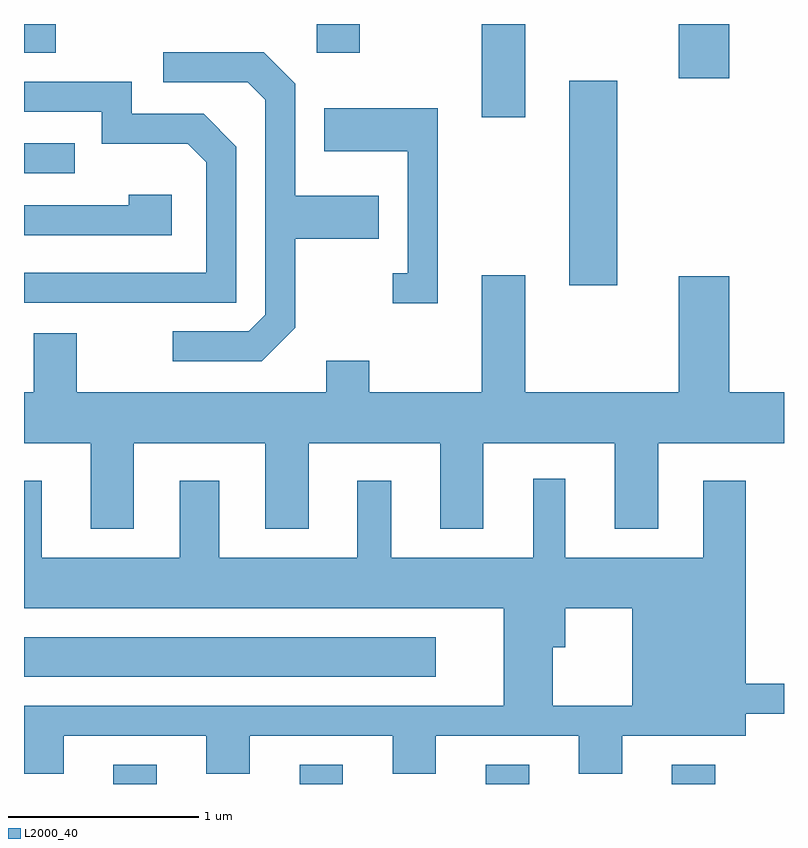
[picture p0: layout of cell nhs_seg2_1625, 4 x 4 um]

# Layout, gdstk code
import gdstk
lib = gdstk.Library(unit=1e-6, precision=1e-09)
def R(c, l, rs):  # rectangles x0, y0, x1, y1
    for r in rs: c.add(gdstk.rectangle(r[:2], r[2:], *l))
def A(c, l, x, y, w, h, nx, ny, dx, dy):  # array of equal rectangles
    R(c, l, [(x+i*dx, y+j*dy, x+i*dx+w, y+j*dy+h) for i in range(nx) for j in range(ny)])
def P(c, l, *ps):  # polygons
    for p in ps: c.add(gdstk.Polygon(p, *l))
L2000_40 = (2000, 40)

nhs_seg2_1625 = lib.new_cell('nhs_seg2_1625')
A(nhs_seg2_1625, L2000_40, 232.081, 1099.802, 0.228, 0.102, 4, 1, 0.98, 0)
R(nhs_seg2_1625, L2000_40, [(231.611,1100.366,233.779,1100.574), (234.481,1102.426,234.734,1103.504), (231.611,1103.016,231.878,1103.174), (234.021,1103.311,234.249,1103.802), (235.056,1103.516,235.324,1103.802), (231.611,1103.651,231.779,1103.802), (233.151,1103.651,233.379,1103.802)])
P(nhs_seg2_1625, L2000_40, [(233.039,1102.204),(233.039,1102.671),(233.479,1102.671),(233.479,1102.899),(233.039,1102.899),(233.039,1103.487),(232.872,1103.654),(232.343,1103.654),(232.343,1103.496),(232.789,1103.496),(232.881,1103.404),(232.881,1102.272),(232.794,1102.184),(232.393,1102.184),(232.393,1102.026),(232.862,1102.026)],
  [(232.729,1103.157),(232.557,1103.329),(232.179,1103.329),(232.179,1103.499),(231.611,1103.499),(231.611,1103.341),(232.021,1103.341),(232.021,1103.171),(232.474,1103.171),(232.571,1103.074),(232.571,1102.494),(231.611,1102.494),(231.611,1102.336),(232.729,1102.336)],
  [(233.789,1103.359),(233.191,1103.359),(233.191,1103.131),(233.631,1103.131),(233.631,1102.489),(233.553,1102.489),(233.553,1102.331),(233.789,1102.331)],
  [(232.389,1102.904),(232.161,1102.904),(232.161,1102.849),(231.611,1102.849),(231.611,1102.691),(232.389,1102.691)],
  [(232.189,1101.596),(232.881,1101.596),(232.881,1101.146),(233.109,1101.146),(233.109,1101.596),(233.801,1101.596),(233.801,1101.146),(234.029,1101.146),(234.029,1101.596),(234.721,1101.596),(234.721,1101.146),(234.949,1101.146),(234.949,1101.596),(235.611,1101.596),(235.611,1101.864),(235.324,1101.864),(235.324,1102.474),(235.056,1102.474),(235.056,1101.864),(234.249,1101.864),(234.249,1102.479),(234.021,1102.479),(234.021,1101.864),(233.429,1101.864),(233.429,1102.029),(233.201,1102.029),(233.201,1101.864),(231.889,1101.864),(231.889,1102.174),(231.661,1102.174),(231.661,1101.864),(231.611,1101.864),(231.611,1101.596),(231.961,1101.596),(231.961,1101.146),(232.189,1101.146)],
  [(231.819,1100.056),(232.571,1100.056),(232.571,1099.856),(232.799,1099.856),(232.799,1100.056),(233.551,1100.056),(233.551,1099.856),(233.779,1099.856),(233.779,1100.056),(234.531,1100.056),(234.531,1099.856),(234.759,1099.856),(234.759,1100.056),(235.409,1100.056),(235.409,1100.171),(235.611,1100.171),(235.611,1100.329),(235.409,1100.329),(235.409,1101.399),(235.186,1101.399),(235.186,1100.994),(234.459,1100.994),(234.459,1101.408),(234.291,1101.408),(234.291,1100.994),(233.544,1100.994),(233.544,1101.399),(233.366,1101.399),(233.366,1100.994),(232.639,1100.994),(232.639,1101.399),(232.431,1101.399),(232.431,1100.994),(231.704,1100.994),(231.704,1101.399),(231.611,1101.399),(231.611,1100.726),(234.136,1100.726),(234.136,1100.214),(234.394,1100.214),(234.394,1100.521),(234.459,1100.521),(234.459,1100.726),(234.811,1100.726),(234.811,1100.214),(234.394,1100.214),(234.136,1100.214),(231.611,1100.214),(231.611,1099.856),(231.819,1099.856)])

lib.write_gds('nhs_seg2_1625.gds')
